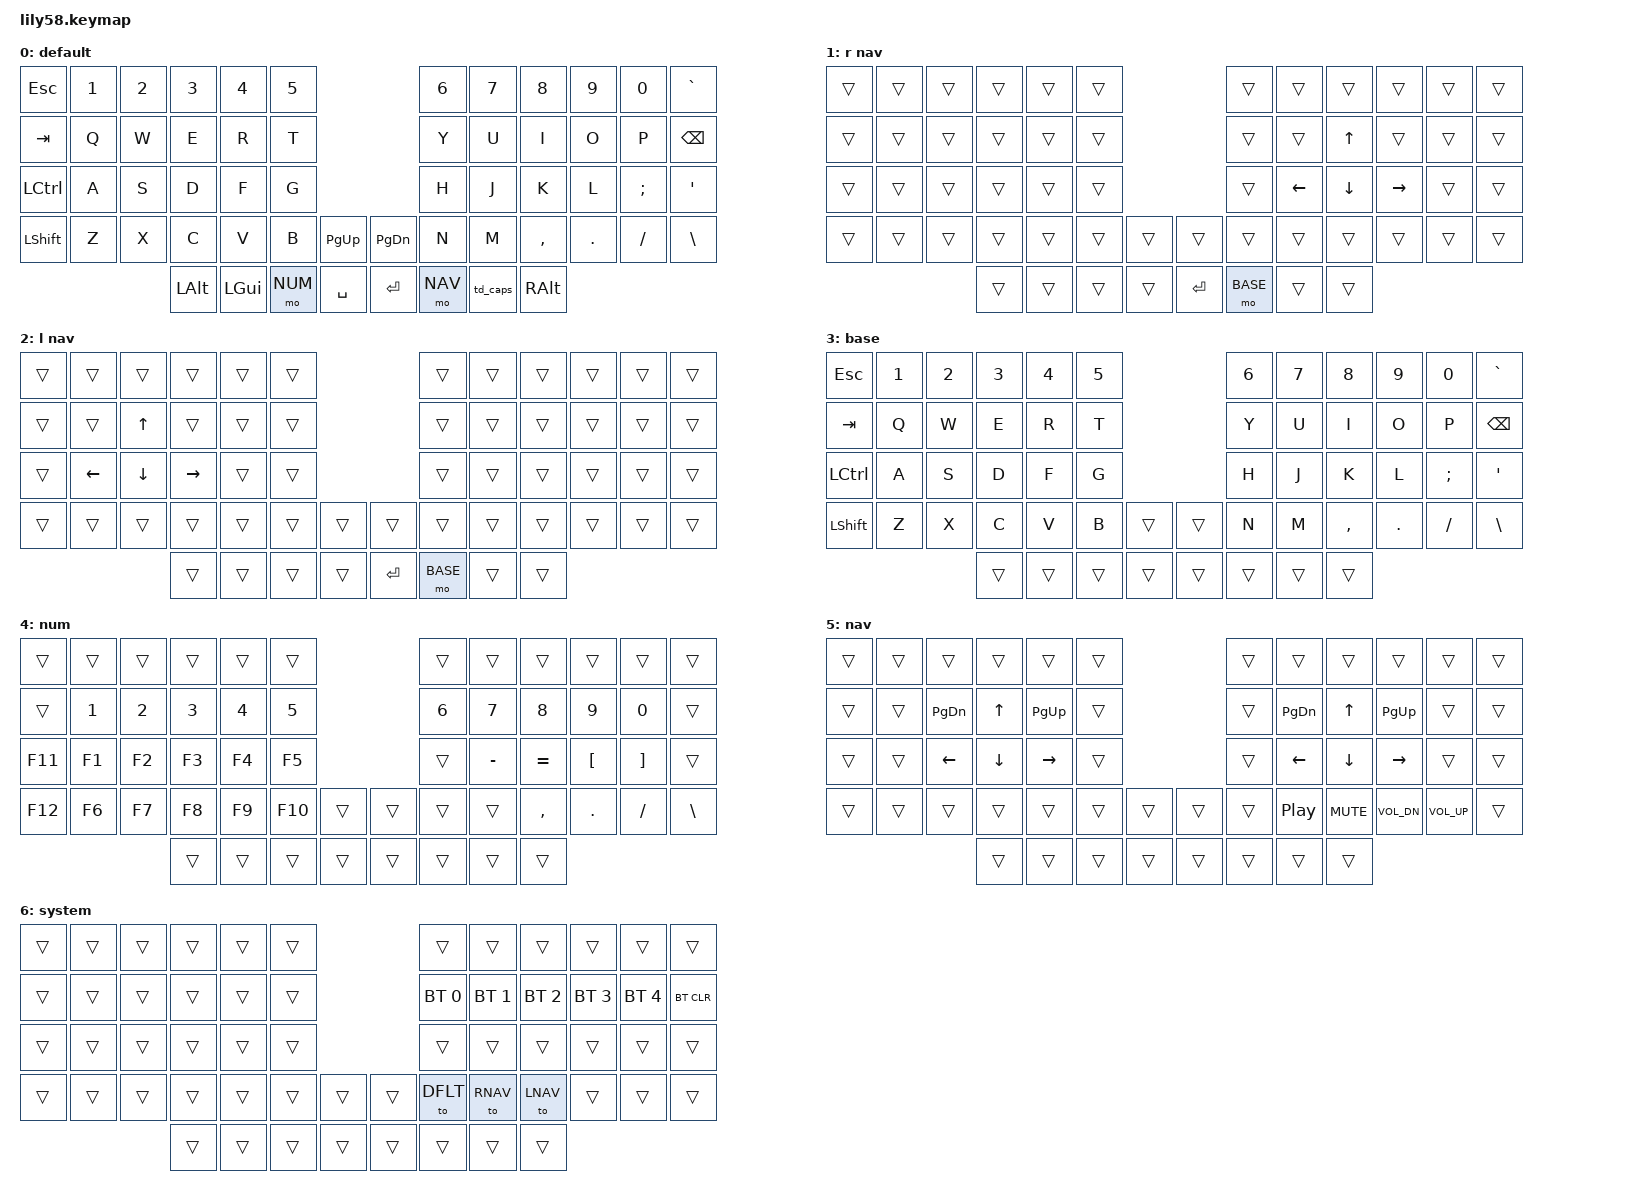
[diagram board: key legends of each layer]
/*
 * Copyright (c) 2020 The ZMK Contributors
 *
 * SPDX-License-Identifier: MIT
 */

#include <behaviors.dtsi>
#include <dt-bindings/zmk/keys.h>
#include <dt-bindings/zmk/bt.h>
#include <dt-bindings/zmk/ext_power.h>

// Higher number layers take precedence and override below
#define DFLT 0

// Custom layers (i.e. task specific)
#define RNAV 1
#define LNAV 2

// Base layers which should always be accessible (i.e. num, nav, sys)
#define BASE 3 // same as DFLT except for thumbs, used to override DFLT keys onto custom layers
#define NUM 4 // numbers layer - numbers, symbols, function keys
#define NAV 5 // navigation layer - arrow keys, media controls
#define SYS 6 // system layer - toggle layer, bt controls

/ {
    conditional_layers {
        compatible = "zmk,conditional-layers";

        // num + nav = sys
        num_nav_sys_layer {
            if-layers = <NUM NAV>;
            then-layer = <SYS>;
        };

        // num + base = sys
        num_base_sys_layer {
            if-layers = <NUM BASE>;
            then-layer = <SYS>;
        };
    };

    // Tap Dance
    behaviors {
        // double-tap LSHIFT to turn on CAPS WORD
        td_caps: td_caps_word {
            compatible = "zmk,behavior-tap-dance";
            label = "CAPDANCE";
            #binding-cells = <0>;
            tapping-term-ms = <175>;
            bindings = <&kp LSHFT>, <&caps_word>;
        };
    };

    combos {
        compatible = "zmk,combos";

        // p bksp = DEL
        del {
            timeout-ms = <25>;
            key-positions = <22 23>;
            bindings = <&kp DEL>;
        };

        // qe = ALT+F4
        altf4 {
            timeout-ms = <25>;
            key-positions = <13 15>;
            bindings = <&kp LA(F4)>;
        };


        // io = (
        lpar {
            timeout-ms = <25>;
            key-positions = <20 21>;
            bindings = <&kp LPAR>;
        };
        // op = )
        rpar {
            timeout-ms = <25>;
            key-positions = <21 22>;
            bindings = <&kp RPAR>;
        };

        // kl = [
        lbkt {
            timeout-ms = <25>;
            key-positions = <32 33>;
            bindings = <&kp LBKT>;
        };
        // l; = ]
        rbkt {
            timeout-ms = <25>;
            key-positions = <33 34>;
            bindings = <&kp RBKT>;
        };

        // ,. = {
        lbrc {
            timeout-ms = <25>;
            key-positions = <46 47>;
            bindings = <&kp LBRC>;
        };
        // ./ = }
        rbrc {
            timeout-ms = <25>;
            key-positions = <47 48>;
            bindings = <&kp RBRC>;
        };
    };

    keymap {
        compatible = "zmk,keymap";

        dflt {
            display-name = "default";
            // ------------------------------------------------------------------------------------------------------------
            // |  ESC  |  1  |  2  |  3   |  4   |  5   |                   |  6   |  7    |  8    |  9   |   0   |   `   |
            // |  TAB  |  Q  |  W  |  E   |  R   |  T   |                   |  Y   |  U    |  I    |  O   |   P   |  BSPC |
            // |  CTRL |  A  |  S  |  D   |  F   |  G   |                   |  H   |  J    |  K    |  L   |   ;   |   '   |
            // | SHIFT |  Z  |  X  |  C   |  V   |  B   |  PG_UP |  | PG_DN |  N   |  M    |  ,    |  .   |   /   |   \   |
            //                     | ALT  | GUI  |  NUM |  SPACE |  | ENTER | NAV  | SHFT CAPS  | ALT   |
            bindings = <
                &kp ESC   &kp N1 &kp N2 &kp N3   &kp N4   &kp N5                         &kp N6   &kp N7   &kp N8    &kp N9  &kp N0   &kp GRAVE
                &kp TAB   &kp Q  &kp W  &kp E    &kp R    &kp T                          &kp Y    &kp U    &kp I     &kp O   &kp P    &kp BSPC
                &kp LCTRL &kp A  &kp S  &kp D    &kp F    &kp G                          &kp H    &kp J    &kp K     &kp L   &kp SEMI &kp SQT
                &kp LSHFT &kp Z  &kp X  &kp C    &kp V    &kp B    &kp PG_UP  &kp PG_DN  &kp N    &kp M    &kp COMMA &kp DOT &kp FSLH &kp BSLH
                                        &kp LALT &kp LGUI &mo NUM  &kp SPACE  &kp RET    &mo NAV  &td_caps &kp RALT
            >;

        };

        rnav {
            display-name = "r nav";
            // -----------------------------------------------------------------------------------------
            // |         |     |     |     |     |     |        |     |     |     |     |     |        |
            // |         |     |     |     |     |     |        |     |     | UP  |     |     |        |
            // |         |     |     |     |     |     |        |     | LFT | DWN | RGT |     |        |      
            // |         |     |     |     |     |     |        |     |     |     |     |     |        |
            //                       |     |     |     |        |     |     |     |
            bindings = <
                &trans  &trans  &trans  &trans  &trans  &trans                  &trans  &trans    &trans    &trans     &trans  &trans
                &trans  &trans  &trans  &trans  &trans  &trans                  &trans  &trans    &kp UP    &trans     &trans  &trans
                &trans  &trans  &trans  &trans  &trans  &trans                  &trans  &kp LEFT  &kp DOWN  &kp RIGHT  &trans  &trans
                &trans  &trans  &trans  &trans  &trans  &trans  &trans  &trans  &trans  &trans    &trans    &trans     &trans  &trans
                                        &trans  &trans  &trans  &trans  &kp RET &mo BASE  &trans  &trans
            >;
        };

        lnav {
            display-name = "l nav";
            // -----------------------------------------------------------------------------------------
            // |         |     | UP  |     |     |     |        |     |     |     |     |     |        |
            // |         | LFT | DWN | RGT |     |     |        |     |     |     |     |     |        |      
            // |         |     |     |     |     |     |        |     |     |     |     |     |        |
            //                       |     |     |     |        |     |     |     |
            bindings = <
                &trans  &trans    &trans    &trans     &trans  &trans                  &trans  &trans  &trans  &trans  &trans  &trans
                &trans  &trans    &kp UP    &trans     &trans  &trans                  &trans  &trans  &trans  &trans  &trans  &trans
                &trans  &kp LEFT  &kp DOWN  &kp RIGHT  &trans  &trans                  &trans  &trans  &trans  &trans  &trans  &trans
                &trans  &trans    &trans    &trans     &trans  &trans  &trans  &trans  &trans  &trans  &trans  &trans  &trans  &trans
                                            &trans     &trans  &trans  &trans  &kp RET &mo BASE &trans &trans
            >;
        };

        // base layers

        base {
            display-name = "base";
            // ------------------------------------------------------------------------------------------------------------
            // |  ESC  |  1  |  2  |  3   |  4   |  5   |                   |  6   |  7    |  8    |  9   |   0   |   `   |
            // |  TAB  |  Q  |  W  |  E   |  R   |  T   |                   |  Y   |  U    |  I    |  O   |   P   |  BSPC |
            // |  CTRL |  A  |  S  |  D   |  F   |  G   |                   |  H   |  J    |  K    |  L   |   ;   |   '   |
            // | SHIFT |  Z  |  X  |  C   |  V   |  B   |        |  |       |  N   |  M    |  ,    |  .   |   /   |   \   |
            //                     | ALT  | GUI  |  NUM |  SPACE |  | ENTER | NAV  | SHFT CAPS  | ALT   |
            bindings = <
                &kp ESC   &kp N1 &kp N2 &kp N3   &kp N4  &kp N5                  &kp N6  &kp N7    &kp N8  &kp N9  &kp N0   &kp GRAVE
                &kp TAB   &kp Q  &kp W  &kp E    &kp R   &kp T                   &kp Y   &kp U     &kp I   &kp O   &kp P    &kp BSPC
                &kp LCTRL &kp A  &kp S  &kp D    &kp F   &kp G                   &kp H   &kp J     &kp K   &kp L   &kp SEMI &kp SQT
                &kp LSHFT &kp Z  &kp X  &kp C    &kp V   &kp B   &trans  &trans  &kp N   &kp M   &kp COMMA &kp DOT &kp FSLH &kp BSLH
                                         &trans  &trans  &trans  &trans  &trans  &trans  &trans  &trans
            >;
        };
    
        num {
            display-name = "num";
            // -----------------------------------------------------------------------------------------
            // |         |  1! |  2@ |  3# |  4$ |  5% |        |  6^ |  7& |  8* |  9( |  0) |     |
            // |   F11   | F1  | F2  | F3  | F4  | F5  |        |     |  -_ |  =+ |  [{ |  ]} |  '" |
            // |   F12   | F6  | F7  | F8  | F9  | F10 |        |     |     |  ,< |  .> |  /? |  \| |
            //                       |     |     |     |        |     |     |     |
            bindings = <
                &trans  &trans  &trans  &trans  &trans  &trans                   &trans   &trans     &trans     &trans    &trans    &trans
                &trans  &kp N1  &kp N2  &kp N3  &kp N4  &kp N5                   &kp N6   &kp N7     &kp N8     &kp N9    &kp N0    &trans
                &kp F11 &kp F1  &kp F2  &kp F3  &kp F4  &kp F5                   &trans   &kp MINUS  &kp EQUAL  &kp LBKT  &kp RBKT  &trans 
                &kp F12 &kp F6  &kp F7  &kp F8  &kp F9  &kp F10  &trans  &trans  &trans   &trans     &kp COMMA  &kp DOT   &kp FSLH  &kp BSLH
                                        &trans  &trans  &trans   &trans  &trans  &trans   &trans     &trans
            >;
        };

        nav {
            display-name = "nav";
            // -----------------------------------------------------------------------------------------
            // |         |     |     |     |     |     |        |     |     |     |     |     |      |
            // |         |     |PG_DN| UP  |PG_UP|     |        |     |PG_DN| UP  |PG_UP|     |      |
            // |         |     | LFT | DWN | RGT |     |        |     | LFT | DWN | RGT |     |      |
            // |         |     |     |     |     |     |        |     |  PP |MUTE |VOLDN|VOLUP|      |
            //                       |     |     |     |        |     |     |     |
            bindings = <
                &trans  &trans  &trans     &trans    &trans     &trans                  &trans  &trans     &trans      &trans        &trans        &trans
                &trans  &trans  &kp PG_DN  &kp UP    &kp PG_UP  &trans                  &trans  &kp PG_DN  &kp UP      &kp PG_UP     &trans        &trans
                &trans  &trans  &kp LEFT   &kp DOWN  &kp RIGHT  &trans                  &trans  &kp LEFT   &kp DOWN    &kp RIGHT     &trans        &trans
                &trans  &trans  &trans     &trans    &trans     &trans  &trans  &trans  &trans  &kp C_PP   &kp C_MUTE  &kp C_VOL_DN  &kp C_VOL_UP  &trans
                                                &trans  &trans  &trans  &trans  &trans  &trans  &trans  &trans
            >;
        };

        sys {
            display-name = "system";
            // -----------------------------------------------------------------------------------------
            // |         |     |     |     |     |     |        |     |     |     |     |     |        |
            // |         |     |     |     |     |     |        | BT1 | BT2 | BT3 | BT4 | BT5 | BT_CLR |  
            // |         |     |     |     |     |     |        |     |     |     |     |     |        |      
            // |         |     |     |     |     |     |        | DFLT| RNAV| LNAV|     |     |        |
            //                       |     |     |     |        |     |     |     |
            bindings = <
                &trans  &trans     &trans     &trans  &trans  &trans                    &trans        &trans        &trans        &trans        &trans        &trans
                &trans  &trans     &trans     &trans  &trans  &trans                    &bt BT_SEL 0  &bt BT_SEL 1  &bt BT_SEL 2  &bt BT_SEL 3  &bt BT_SEL 4  &bt BT_CLR
                &trans  &trans     &trans     &trans  &trans  &trans                    &trans        &trans        &trans        &trans        &trans        &trans
                &trans  &trans     &trans     &trans  &trans  &trans    &trans  &trans  &to DFLT      &to RNAV      &to LNAV      &trans        &trans        &trans
                                              &trans  &trans  &trans    &trans  &trans  &trans  &trans  &trans
            >;
        };
    };
};
